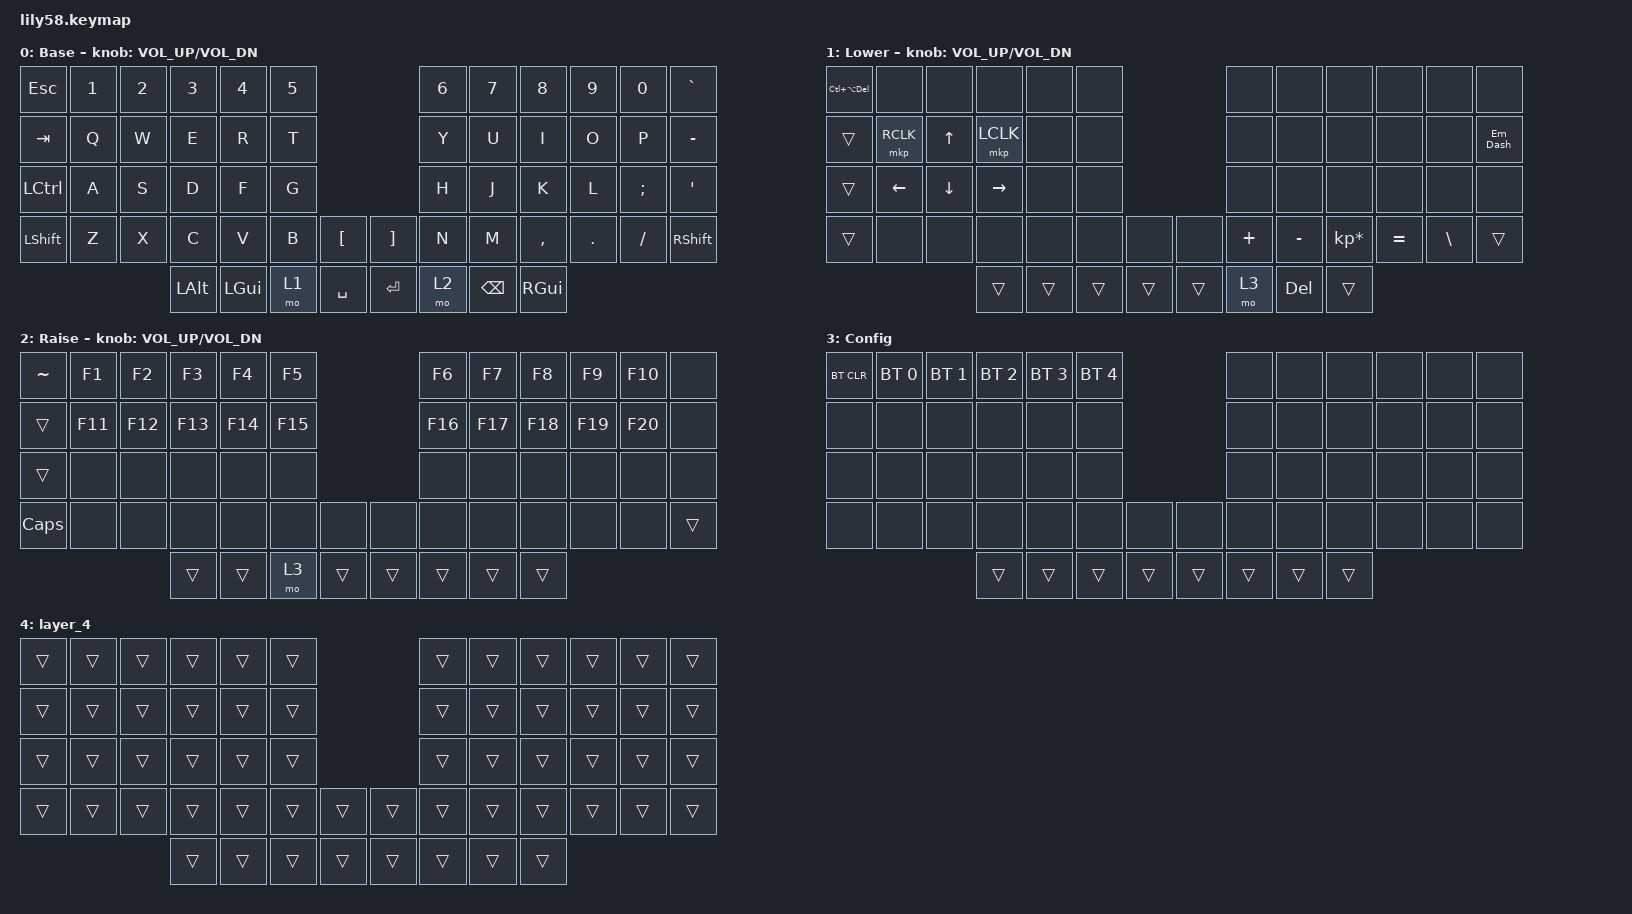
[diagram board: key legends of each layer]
/*
 * Copyright (c) 2020 The ZMK Contributors
 *
 * SPDX-License-Identifier: MIT
 */

#include <behaviors.dtsi>
#include <dt-bindings/zmk/bt.h>
#include <dt-bindings/zmk/keys.h>
#include <dt-bindings/zmk/pointing.h>

/ {
    macros {
        Em_Dash: Em_Dash {
            compatible = "zmk,behavior-macro";
            #binding-cells = <0>;
            bindings
                = <&macro_press   &kp LALT>
                , <&macro_tap     &kp KP_N0 &kp KP_N1 &kp KP_N5 &kp KP_N1>
                , <&macro_release &kp LALT>
    ;
            label = "EM_DASH";
        };
    };

    keymap {
        compatible = "zmk,keymap";

        default_layer {
            // ------------------------------------------------------------------------------------------------------------
            // |  ESC  |  1  |  2  |  3   |  4   |  5   |                   |  6   |  7    |  8    |  9   |   0   |   `   |
            // |  TAB  |  Q  |  W  |  E   |  R   |  T   |                   |  Y   |  U    |  I    |  O   |   P   |   -   |
            // |  CTRL |  A  |  S  |  D   |  F   |  G   |                   |  H   |  J    |  K    |  L   |   ;   |   '   |
            // | SHIFT |  Z  |  X  |  C   |  V   |  B   |   "["  |  |  "]"  |  N   |  M    |  ,    |  .   |   /   | SHIFT |
            //                     | ALT  | GUI  | LOWER|  SPACE |  | ENTER | RAISE| BSPC  | GUI   |

            display-name = "Base";
            bindings = <
&kp ESC    &kp N1  &kp N2  &kp N3    &kp N4    &kp N5                         &kp N6  &kp N7    &kp N8     &kp N9   &kp N0    &kp GRAVE
&kp TAB    &kp Q   &kp W   &kp E     &kp R     &kp T                          &kp Y   &kp U     &kp I      &kp O    &kp P     &kp MINUS
&kp LCTRL  &kp A   &kp S   &kp D     &kp F     &kp G                          &kp H   &kp J     &kp K      &kp L    &kp SEMI  &kp SQT
&kp LSHFT  &kp Z   &kp X   &kp C     &kp V     &kp B   &kp LBKT     &kp RBKT  &kp N   &kp M     &kp COMMA  &kp DOT  &kp FSLH  &kp RSHFT
                           &kp LALT  &kp LGUI  &mo 1   &kp SPACE    &kp RET   &mo 2   &kp BSPC  &kp RGUI
            >;

            sensor-bindings = <&inc_dec_kp C_VOL_UP C_VOL_DN>;
        };

        lower_layer {
            // ------------------------------------------------------------------------------------------------------------
            // | BTCLR | BT1 | BT2 |  BT3 |  BT4 |  BT5 |                   |      |       |       |      |       |       |
            // |  F1   |  F2 |  F3 |  F4  |  F5  |  F6  |                   |  F7  |  F8   |  F9   |  F10 |  F11  |  F12  |
            // |   `   |  !  |  @  |  #   |  $   |  %   |                   |  ^   |  &    |  *    |  (   |   )   |   ~   |
            // |       |     |     |      |      |      |        |  |       |      |  _    |  +    |  {   |   }   |  "|"  |
            //                     |      |      |      |        |  |       |      |       |       |

            display-name = "Lower";
            bindings = <
&kp LC(LA(DELETE))  &none      &none     &none      &none   &none                     &none     &none      &none            &none      &none          &none
&trans              &mkp RCLK  &kp UP    &mkp LCLK  &none   &none                     &none     &none      &none            &none      &none          &Em_Dash
&trans              &kp LEFT   &kp DOWN  &kp RIGHT  &none   &none                     &none     &none      &none            &none      &none          &none
&trans              &none      &none     &none      &none   &none   &none     &none   &kp PLUS  &kp MINUS  &kp KP_MULTIPLY  &kp EQUAL  &kp BACKSLASH  &trans
                                         &trans     &trans  &trans  &trans    &trans  &mo 3     &kp DEL    &trans
            >;

            sensor-bindings = <&inc_dec_kp C_VOL_UP C_VOL_DN>;
        };

        raise_layer {
            // ------------------------------------------------------------------------------------------------------------
            // |       |     |     |      |      |      |                   |      |       |       |      |       |       |
            // |   `   |  1  |  2  |  3   |  4   |  5   |                   |  6   |   7   |   8   |  9   |   0   |       |
            // |   F1  |  F2 |  F3 |  F4  |  F5  |  F6  |                   |      |   <-  |   v   |  ^   |  ->   |       |
            // |   F7  |  F8 |  F9 |  F10 |  F11 |  F12 |        |  |       |  +   |   -   |   =   |  [   |   ]   |   \   |
            //                     |      |      |      |        |  |       |      |       |       |

            display-name = "Raise";
            bindings = <
&kp TILDE  &kp F1   &kp F2   &kp F3   &kp F4   &kp F5                     &kp F6   &kp F7   &kp F8   &kp F9   &kp F10  &none
&trans     &kp F11  &kp F12  &kp F13  &kp F14  &kp F15                    &kp F16  &kp F17  &kp F18  &kp F19  &kp F20  &none
&trans     &none    &none    &none    &none    &none                      &none    &none    &none    &none    &none    &none
&kp CAPS   &none    &none    &none    &none    &none    &none     &none   &none    &none    &none    &none    &none    &trans
                             &trans   &trans   &mo 3    &trans    &trans  &trans   &trans   &trans
            >;

            sensor-bindings = <&inc_dec_kp C_VOL_UP C_VOL_DN>;
        };

        kb_settings {
            bindings = <
&bt BT_CLR  &bt BT_SEL 0  &bt BT_SEL 1  &bt BT_SEL 2  &bt BT_SEL 3  &bt BT_SEL 4                    &none   &none   &none   &none  &none  &none
&none       &none         &none         &none         &none         &none                           &none   &none   &none   &none  &none  &none
&none       &none         &none         &none         &none         &none                           &none   &none   &none   &none  &none  &none
&none       &none         &none         &none         &none         &none         &none     &none   &none   &none   &none   &none  &none  &none
                                        &trans        &trans        &trans        &trans    &trans  &trans  &trans  &trans
            >;

            display-name = "Config";
        };

        layer_4 {
            bindings = <
&trans  &trans  &trans  &trans  &trans  &trans                    &trans  &trans  &trans  &trans  &trans  &trans
&trans  &trans  &trans  &trans  &trans  &trans                    &trans  &trans  &trans  &trans  &trans  &trans
&trans  &trans  &trans  &trans  &trans  &trans                    &trans  &trans  &trans  &trans  &trans  &trans
&trans  &trans  &trans  &trans  &trans  &trans  &trans    &trans  &trans  &trans  &trans  &trans  &trans  &trans
                        &trans  &trans  &trans  &trans    &trans  &trans  &trans  &trans
            >;
        };

        extra_1 { status = "reserved"; };

        extra_2 { status = "reserved"; };

        extra_3 { status = "reserved"; };
    };
};
